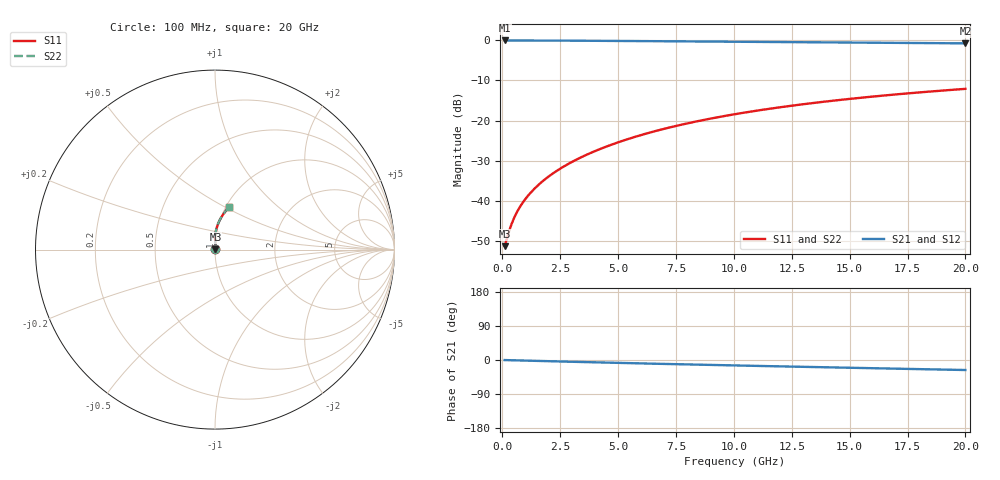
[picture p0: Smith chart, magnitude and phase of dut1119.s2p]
! Touchstone file exported from HFSS 2024.1.0
!  File:  C:/UserFiles/LocalFiles/RDL_TSV_Batchsim/temp_RDL_top_1119_1780046965.aedt
!  Generated:  05:31:43 PM May 29, 2026
!  Design:  RDL_top
!  Project:  temp_RDL_top_1119_1780046965
!  Setup:  Setup1
!  Solution:  Sweep
! Variables:
!  dtsv = 10.80580581um
!  hbump = 3um
!  htsv = 66.23um
!  ldown = 100um
!  lrdl = 354.18um
!  p = 40
!  p1 = 51.52um
!  rhole = 1um
!  t = 450um
!  tdown = 3.915915916um
!  trdl = 2.23um
!  wdown = 15.38538539um
!  wrdl = 27.21um
# GHz S MA R 50.000000
! Terminal data exported
! Port[1] = Box2_T1
! Port[2] = Box2_T2
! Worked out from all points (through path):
!   200 points, 100 MHz to 20 GHz, reference 50 ohm
!   highest |S21| = -0.02 dB at 100 MHz (marker M1); lowest = -0.7 dB at 20 GHz (marker M2)
!   group delay of S21, straight-line fit = 3.62 ps
!   lowest |S11| = -51.3 dB at 100 MHz (marker M3), VSWR 1.01, Z = 50.2 + j0.114 ohm
!   |S11| at or under -10 dB: start of sweep to end of sweep
!   |S22| runs from -51.3 to -12.1 dB; largest |S21 - S12| = 2.6e-15
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0.1  0.002714 24.7  0.9975 -0.2  0.9975 -0.2  0.002714 24.7
! Gamma 0 0 0 0
! Port Impedance 50 0 50 0
0.3  0.004225 51.5  0.9973 -0.5  0.9973 -0.5  0.004225 51.5
0.4  0.005119 57.8  0.9971 -0.7  0.9971 -0.7  0.005119 57.8
0.5  0.006022 62.1  0.997 -0.8  0.997 -0.8  0.006022 62.1
0.6  0.006923 65.4  0.9968 -1.0  0.9968 -1.0  0.006923 65.4
0.7  0.007822 68.0  0.9966 -1.1  0.9966 -1.1  0.007822 68.0
0.9  0.009625 72.0  0.9963 -1.4  0.9963 -1.4  0.009625 72.0
1.2  0.01237 76.3  0.9958 -1.9  0.9958 -1.9  0.01237 76.3
1.7  0.01711 81.0  0.9949 -2.7  0.9949 -2.7  0.01711 81.0
2.2  0.02205 84.0  0.9937 -3.5  0.9937 -3.5  0.02206 84.0
2.8  0.02827 86.4  0.9921 -4.4  0.9921 -4.4  0.02827 86.4
3.5  0.03589 88.1  0.9898 -5.4  0.9898 -5.4  0.0359 88.1
4.2  0.04391 89.1  0.9872 -6.5  0.9872 -6.5  0.04392 89.2
5  0.0535 89.7  0.9839 -7.6  0.9839 -7.6  0.05351 89.7
5.9  0.06476 89.7  0.9801 -8.9  0.9801 -8.9  0.06478 89.7
6.8  0.07641 89.2  0.9761 -10.1  0.9761 -10.1  0.07644 89.3
8.4  0.09774 87.8  0.9689 -12.2  0.9689 -12.2  0.09778 87.8
10.1  0.1208 85.7  0.9613 -14.4  0.9613 -14.4  0.1209 85.7
11.7  0.1425 83.5  0.9542 -16.5  0.9542 -16.5  0.1426 83.5
13.4  0.1653 81.0  0.9467 -18.6  0.9467 -18.6  0.1653 81.0
16.7  0.2081 76.2  0.9323 -22.5  0.9323 -22.5  0.2082 76.2
20  0.2485 71.6  0.9178 -26.4  0.9178 -26.4  0.2486 71.6
